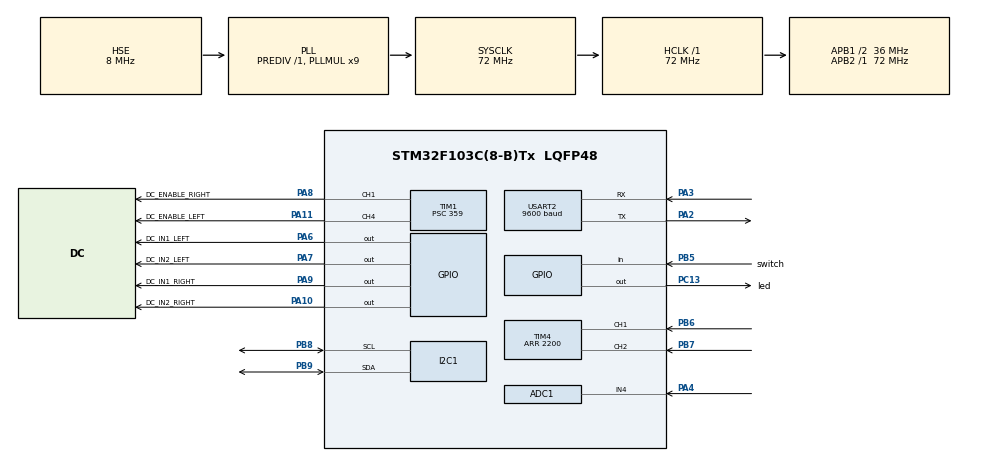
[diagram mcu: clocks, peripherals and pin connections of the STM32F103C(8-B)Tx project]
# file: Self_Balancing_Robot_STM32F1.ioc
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ADC1.Channel-98\#ChannelRegularConversion=ADC_CHANNEL_4
ADC1.ContinuousConvMode=ENABLE
ADC1.NbrOfConversionFlag=1
ADC1.Rank-98\#ChannelRegularConversion=1
ADC1.SamplingTime-98\#ChannelRegularConversion=ADC_SAMPLETIME_239CYCLES_5
ADC1.master=1
Dma.ADC1.0.Direction=DMA_PERIPH_TO_MEMORY
Dma.ADC1.0.Instance=DMA1_Channel1
Dma.ADC1.0.MemDataAlignment=DMA_MDATAALIGN_HALFWORD
Dma.ADC1.0.MemInc=DMA_MINC_ENABLE
Dma.ADC1.0.Mode=DMA_CIRCULAR
Dma.ADC1.0.PeriphDataAlignment=DMA_PDATAALIGN_HALFWORD
Dma.ADC1.0.PeriphInc=DMA_PINC_DISABLE
Dma.ADC1.0.Priority=DMA_PRIORITY_LOW
Dma.Request0=ADC1
I2C1.I2C_Mode=I2C_Fast
Mcu.Family=STM32F1
Mcu.Name=STM32F103C(8-B)Tx
Mcu.Package=LQFP48
NVIC.DMA1_Channel1_IRQn=true\:0\:0\:false\:false\:true
NVIC.I2C1_EV_IRQn=true\:0\:0\:false\:false\:true
NVIC.PriorityGroup=NVIC_PRIORITYGROUP_4
NVIC.USART2_IRQn=true\:0\:0\:false\:false\:true
PA10.GPIO_Label=DC_IN2_RIGHT
PA10.Signal=GPIO_Output
PA11.GPIO_Label=DC_ENABLE_LEFT
PA11.Signal=S_TIM1_CH4
PA13.Mode=Serial_Wire
PA13.Signal=SYS_JTMS-SWDIO
PA14.Mode=Serial_Wire
PA14.Signal=SYS_JTCK-SWCLK
PA2.Mode=Asynchronous
PA2.Signal=USART2_TX
PA3.Mode=Asynchronous
PA3.Signal=USART2_RX
PA4.Signal=ADCx_IN4
PA6.GPIO_Label=DC_IN1_LEFT
PA6.Signal=GPIO_Output
PA7.GPIO_Label=DC_IN2_LEFT
PA7.Signal=GPIO_Output
PA8.GPIO_Label=DC_ENABLE_RIGHT
PA8.Signal=S_TIM1_CH1
PA9.GPIO_Label=DC_IN1_RIGHT
PA9.Signal=GPIO_Output
PB5.GPIO_Label=switch
PB5.GPIO_PuPd=GPIO_PULLUP
PB5.Signal=GPIO_Input
PB6.Signal=S_TIM4_CH1
PB7.Signal=S_TIM4_CH2
PB8.Mode=I2C
PB8.Signal=I2C1_SCL
PB9.Mode=I2C
PB9.Signal=I2C1_SDA
PC13-TAMPER-RTC.GPIO_Label=led
PC13-TAMPER-RTC.PinState=GPIO_PIN_SET
PC13-TAMPER-RTC.Signal=GPIO_Output
PD0-OSC_IN.Mode=HSE-External-Oscillator
PD0-OSC_IN.Signal=RCC_OSC_IN
PD1-OSC_OUT.Mode=HSE-External-Oscillator
PD1-OSC_OUT.Signal=RCC_OSC_OUT
ProjectManager.HeapSize=0x200
ProjectManager.StackSize=0x400
ProjectManager.TargetToolchain=SW4STM32
RCC.ADCPresc=RCC_ADCPCLK2_DIV6
RCC.AHBFreq_Value=72000000
RCC.APB1CLKDivider=RCC_HCLK_DIV2
RCC.APB1Freq_Value=36000000
RCC.APB1TimFreq_Value=72000000
RCC.APB2Freq_Value=72000000
RCC.APB2TimFreq_Value=72000000
RCC.HCLKFreq_Value=72000000
RCC.PLLMUL=RCC_PLL_MUL9
RCC.PLLSourceVirtual=RCC_PLLSOURCE_HSE
RCC.SYSCLKFreq_VALUE=72000000
RCC.SYSCLKSource=RCC_SYSCLKSOURCE_PLLCLK
RCC.USBFreq_Value=72000000
SH.ADCx_IN4.0=ADC1_IN4,IN4
SH.S_TIM1_CH1.0=TIM1_CH1,PWM Generation1 CH1
SH.S_TIM1_CH4.0=TIM1_CH4,PWM Generation4 CH4
SH.S_TIM4_CH1.0=TIM4_CH1,Encoder_Interface
SH.S_TIM4_CH2.0=TIM4_CH2,Encoder_Interface
TIM1.Channel-PWM\ Generation1\ CH1=TIM_CHANNEL_1
TIM1.Channel-PWM\ Generation4\ CH4=TIM_CHANNEL_4
TIM1.Period=999
TIM1.Prescaler=359
TIM4.EncoderMode=TIM_ENCODERMODE_TI12
TIM4.IC1Filter=15
TIM4.IC2Filter=15
TIM4.Period=2200
USART2.BaudRate=9600
USART2.VirtualMode=VM_ASYNC
VP_TIM1_VS_ClockSourceINT.Mode=Internal
board=Self_Balancing_Robot_STM32F1

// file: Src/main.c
/**
 ******************************************************************************
 * File Name          : main.c
 * Description        : Main program body
 ******************************************************************************
 ** This notice applies to any and all portions of this file
 * that are not between comment pairs USER CODE BEGIN and
 * USER CODE END. Other portions of this file, whether
 * inserted by the user or by software development tools
 * are owned by their respective copyright owners.
 *
 * COPYRIGHT(c) 2017 STMicroelectronics
 *
 * Redistribution and use in source and binary forms, with or without modification,
 * are permitted provided that the following conditions are met:
 *   1. Redistributions of source code must retain the above copyright notice,
 *      this list of conditions and the following disclaimer.
 *   2. Redistributions in binary form must reproduce the above copyright notice,
 *      this list of conditions and the following disclaimer in the documentation
 *      and/or other materials provided with the distribution.
 *   3. Neither the name of STMicroelectronics nor the names of its contributors
 *      may be used to endorse or promote products derived from this software
 *      without specific prior written permission.
 *
 * THIS SOFTWARE IS PROVIDED BY THE COPYRIGHT HOLDERS AND CONTRIBUTORS "AS IS"
 * AND ANY EXPRESS OR IMPLIED WARRANTIES, INCLUDING, BUT NOT LIMITED TO, THE
 * IMPLIED WARRANTIES OF MERCHANTABILITY AND FITNESS FOR A PARTICULAR PURPOSE ARE
 * DISCLAIMED. IN NO EVENT SHALL THE COPYRIGHT HOLDER OR CONTRIBUTORS BE LIABLE
 * FOR ANY DIRECT, INDIRECT, INCIDENTAL, SPECIAL, EXEMPLARY, OR CONSEQUENTIAL
 * DAMAGES (INCLUDING, BUT NOT LIMITED TO, PROCUREMENT OF SUBSTITUTE GOODS OR
 * SERVICES; LOSS OF USE, DATA, OR PROFITS; OR BUSINESS INTERRUPTION) HOWEVER
 * CAUSED AND ON ANY THEORY OF LIABILITY, WHETHER IN CONTRACT, STRICT LIABILITY,
 * OR TORT (INCLUDING NEGLIGENCE OR OTHERWISE) ARISING IN ANY WAY OUT OF THE USE
 * OF THIS SOFTWARE, EVEN IF ADVISED OF THE POSSIBILITY OF SUCH DAMAGE.
 *
 ******************************************************************************
 */
#include "main.h"
#include "stm32f1xx_hal.h"

/* USER CODE BEGIN Includes */
#include <math.h>
/* USER CODE END Includes */

ADC_HandleTypeDef hadc1;
DMA_HandleTypeDef hdma_adc1;

I2C_HandleTypeDef hi2c1;

TIM_HandleTypeDef htim1;
TIM_HandleTypeDef htim4;

UART_HandleTypeDef huart2;

/* USER CODE BEGIN PV */
/* Private variables ---------------------------------------------------------*/
//DC motor macros
// Right motor
#define DC_IN1_RIGHT_ON HAL_GPIO_WritePin(DC_IN1_RIGHT_GPIO_Port, DC_IN1_RIGHT_Pin, 1)
#define DC_IN2_RIGHT_ON HAL_GPIO_WritePin(DC_IN2_RIGHT_GPIO_Port, DC_IN2_RIGHT_Pin, 1)
#define DC_IN1_RIGHT_OFF HAL_GPIO_WritePin(DC_IN1_RIGHT_GPIO_Port, DC_IN1_RIGHT_Pin, 0)
#define DC_IN2_RIGHT_OFF HAL_GPIO_WritePin(DC_IN2_RIGHT_GPIO_Port, DC_IN2_RIGHT_Pin, 0)
#define DC_ENABLE_RIGHT HAL_GPIO_WritePin(DC_ENABLE_RIGHT_GPIO_Port, DC_ENABLE_RIGHT_Pin, 1)
#define DC_DISABLE_RIGHT HAL_GPIO_WritePin(DC_ENABLE_RIGHT_GPIO_Port, DC_ENABLE_RIGHT_Pin, 0)
#define DC_DUTY_RIGHT TIM1->CCR1
// Left motor
#define DC_IN1_LEFT_ON HAL_GPIO_WritePin(DC_IN1_LEFT_GPIO_Port, DC_IN1_LEFT_Pin, 1)
#define DC_IN2_LEFT_ON HAL_GPIO_WritePin(DC_IN2_LEFT_GPIO_Port, DC_IN2_LEFT_Pin, 1)
#define DC_IN1_LEFT_OFF HAL_GPIO_WritePin(DC_IN1_LEFT_GPIO_Port, DC_IN1_LEFT_Pin, 0)
#define DC_IN2_LEFT_OFF HAL_GPIO_WritePin(DC_IN2_LEFT_GPIO_Port, DC_IN2_LEFT_Pin, 0)
#define DC_ENABLE_LEFT HAL_GPIO_WritePin(DC_ENABLE_LEFT_GPIO_Port, DC_ENABLE_LEFT_Pin, 1)
#define DC_DISABLE_LEFT HAL_GPIO_WritePin(DC_ENABLE_LEFT_GPIO_Port, DC_ENABLE_LEFT_Pin, 0)
#define DC_DUTY_LEFT TIM1->CCR4
// Both motors
#define DC_IN1_ON DC_IN1_RIGHT_ON; DC_IN1_LEFT_ON
#define DC_IN2_ON DC_IN2_RIGHT_ON; DC_IN2_LEFT_ON
#define DC_IN1_OFF DC_IN1_RIGHT_OFF; DC_IN1_LEFT_OFF
#define DC_IN2_OFF DC_IN2_RIGHT_OFF; DC_IN2_LEFT_OFF
#define DC_ENABLE DC_ENABLE_RIGHT; DC_ENABLE_LEFT
#define DC_DISABLE DC_DISABLE_RIGHT; DC_DISABLE_LEFT

uint8_t dc_shutdown;

// MPU6050 macros
#define MPU6050_ADDRESS 0xD0 // AD0 low; dont know why not 0x68 but 0xD0 works
#define MPU6050_PWR_MGMT_1 0x6B
#define MPU6050_GYRO_CONFIG 0x1B
#define MPU6050_ACCEL_CONFIG 0x1C
#define MPU6050_ACCEL_XOUT_H 0x3B
#define MPU6050_GYRO_XOUT_H 0x43
#define MPU6050_WHO_AM_I 0x75
#define MPU6050_I_AM 0x68
#define MPU6050_ACCEL_SENSITIVITY_SCALE ((float) 16384)
#define MPU6050_GYRO_SENSITIVITY_SCALE ((float) 131)

#define RAD_TO_DEG 180/M_PI
#define I2C_DEINIT {HAL_I2C_DeInit(&hi2c1); HAL_I2C_Init(&hi2c1);}

#define LED_ON HAL_GPIO_WritePin(led_GPIO_Port, led_Pin, 0)
#define LED_OFF HAL_GPIO_WritePin(led_GPIO_Port, led_Pin, 1)

uint8_t data[14];

float angle, set_point, error, drive, duty_stm_studio;

uint8_t data_uart[100], size = 0;

typedef struct {
	float dState; // Last position input

	float iState; // Integrator state
	float iMax, iMin; // Maximum and minimum allowable integrator state

	float pGain, // Proportional gain
			iGain, // Integrator gain
			dGain; // Derivative gain
} PID;
PID pid;

int32_t encoder;
volatile uint8_t cnt, key_lock;

uint16_t battery_adc;
float battery_voltage;

float pTerm, iTerm, dTerm;

uint8_t Received[10];
/* USER CODE END PV */

void SystemClock_Config(void);
static void MX_GPIO_Init(void);
static void MX_DMA_Init(void);
static void MX_TIM1_Init(void);
static void MX_I2C1_Init(void);
static void MX_USART2_UART_Init(void);
static void MX_TIM4_Init(void);
static void MX_ADC1_Init(void);

void HAL_TIM_MspPostInit(TIM_HandleTypeDef *htim);

/* USER CODE BEGIN PFP */
/* Private function prototypes -----------------------------------------------*/
uint8_t battery_low(uint16_t battery_adc);
void HAL_SYSTICK_Callback(void) { /* 100kHz interrupt */
	static uint32_t counter = 0, battery_counter = 0;
	counter++;
	battery_counter++;

	// Encoder start
	if (!key_lock && !HAL_GPIO_ReadPin(switch_GPIO_Port, switch_Pin)) {
		key_lock = 1;

//		switch (cnt) {
//		case 0:
//			set_point = 0.01 * (TIM4->CNT / 2);
//			break;
//		case 1:
//			set_point = -0.01 * (TIM4->CNT / 2);
//			break;
//		default:
//			break;
//		}
//		cnt++;
//		if (cnt > 1)
//			cnt = 0;

		pid.dGain = 20*(TIM4->CNT / 2);
	} else if (key_lock && HAL_GPIO_ReadPin(switch_GPIO_Port, switch_Pin))
		key_lock = 0;
	// Encoder end

//	if (counter == 1000) { /* every 0.5 sec */
//		counter = 0;
//		size = sprintf((char*) data_uart, "P_GAIN: %d\tI_GAIN: %d\tD_GAIN: %d\n\r", (int) (pid.pGain), (int) (pid.iGain), (int) (pid.dGain));
//		HAL_UART_Transmit_IT(&huart2, data_uart, size);
//	}
//	\tI: %d\tD: %d\tenc: %d\tcnt: %d

	// Battery voltage warning
//	if (battery_counter == 5000) { /* every 5 sec */
//		battery_counter = 0;
//		if (battery_low(battery_adc))
//			LED_ON;
//		else
//			LED_OFF;
//	}
}

void MPU6050_config(void);
float MPU6050_calibration(void);
float estimate_angle(void);
float update_PID(PID * pid, float error, float position);
void motor_plant(float drive, float position);

/* USER CODE END PFP */

int main(void) {

	/* USER CODE BEGIN 1 */
	pid.pGain = 300;
	pid.iGain = 0.05;
	pid.dGain = 0;

	pid.iMax = 1000;
	pid.iMin = -1000;

	/* USER CODE END 1 */

	/* MCU Configuration----------------------------------------------------------*/

	/* Reset of all peripherals, Initializes the Flash interface and the Systick. */
	HAL_Init();

	/* Configure the system clock */
	SystemClock_Config();

	/* Initialize all configured peripherals */
	MX_GPIO_Init();
	MX_DMA_Init();
	MX_TIM1_Init();
	MX_I2C1_Init();
	MX_USART2_UART_Init();
	MX_TIM4_Init();
	MX_ADC1_Init();

	/* USER CODE BEGIN 2 */
	HAL_TIM_PWM_Start(&htim1, TIM_CHANNEL_1);
	HAL_TIM_PWM_Start(&htim1, TIM_CHANNEL_4);
	HAL_TIM_Encoder_Start(&htim4, TIM_CHANNEL_ALL);

	MPU6050_config();
//	set_point = MPU6050_calibration();
	set_point = -10.00;
	HAL_ADC_Start_DMA(&hadc1, (uint32_t*) &battery_adc, 1);

	TIM4->CNT = 400;
	/* USER CODE END 2 */

	/* Infinite loop */
	/* USER CODE BEGIN WHILE */
	while (1) {
		angle = estimate_angle();
		error = set_point - angle;
		drive = update_PID(&pid, set_point - angle, angle);
		motor_plant(drive, angle);

		//***********************
		encoder = TIM4->CNT / 2;
		battery_voltage = battery_adc / 4095.0 * 12.0 + 2.0;
		//***********************

//		DC_IN1_LEFT_ON;
//		DC_IN2_LEFT_OFF;
//		DC_DUTY_LEFT = 400;
//
//		DC_IN1_RIGHT_OFF;
//		DC_IN2_RIGHT_ON;
//		DC_DUTY_RIGHT = 1000;
//
//		HAL_Delay(1500);
//
//		DC_IN1_LEFT_OFF;
//		DC_IN2_LEFT_ON;
//		DC_DUTY_LEFT = 1000;
//
//		DC_IN1_RIGHT_ON;
//		DC_IN2_RIGHT_OFF;
//		DC_DUTY_RIGHT = 400;
//
//		HAL_Delay(1500);
		/* USER CODE END WHILE */

	}

}

/** System Clock Configuration
 */
void SystemClock_Config(void) {

	RCC_OscInitTypeDef RCC_OscInitStruct;
	RCC_ClkInitTypeDef RCC_ClkInitStruct;
	RCC_PeriphCLKInitTypeDef PeriphClkInit;

	/**Initializes the CPU, AHB and APB busses clocks
	 */
	RCC_OscInitStruct.OscillatorType = RCC_OSCILLATORTYPE_HSE;
	RCC_OscInitStruct.HSEState = RCC_HSE_ON;
	RCC_OscInitStruct.HSEPredivValue = RCC_HSE_PREDIV_DIV1;
	RCC_OscInitStruct.HSIState = RCC_HSI_ON;
	RCC_OscInitStruct.PLL.PLLState = RCC_PLL_ON;
	RCC_OscInitStruct.PLL.PLLSource = RCC_PLLSOURCE_HSE;
	RCC_OscInitStruct.PLL.PLLMUL = RCC_PLL_MUL9;
	if (HAL_RCC_OscConfig(&RCC_OscInitStruct) != HAL_OK) {
		_Error_Handler(__FILE__, __LINE__);
	}

	/**Initializes the CPU, AHB and APB busses clocks
	 */
	RCC_ClkInitStruct.ClockType = RCC_CLOCKTYPE_HCLK | RCC_CLOCKTYPE_SYSCLK
			| RCC_CLOCKTYPE_PCLK1 | RCC_CLOCKTYPE_PCLK2;
	RCC_ClkInitStruct.SYSCLKSource = RCC_SYSCLKSOURCE_PLLCLK;
	RCC_ClkInitStruct.AHBCLKDivider = RCC_SYSCLK_DIV1;
	RCC_ClkInitStruct.APB1CLKDivider = RCC_HCLK_DIV2;
	RCC_ClkInitStruct.APB2CLKDivider = RCC_HCLK_DIV1;

	if (HAL_RCC_ClockConfig(&RCC_ClkInitStruct, FLASH_LATENCY_2) != HAL_OK) {
		_Error_Handler(__FILE__, __LINE__);
	}

	PeriphClkInit.PeriphClockSelection = RCC_PERIPHCLK_ADC;
	PeriphClkInit.AdcClockSelection = RCC_ADCPCLK2_DIV6;
	if (HAL_RCCEx_PeriphCLKConfig(&PeriphClkInit) != HAL_OK) {
		_Error_Handler(__FILE__, __LINE__);
	}

	/**Configure the Systick interrupt time
	 */
	HAL_SYSTICK_Config(HAL_RCC_GetHCLKFreq() / 1000);

	/**Configure the Systick
	 */
	HAL_SYSTICK_CLKSourceConfig(SYSTICK_CLKSOURCE_HCLK);

	/* SysTick_IRQn interrupt configuration */
	HAL_NVIC_SetPriority(SysTick_IRQn, 0, 0);
}

/* ADC1 init function */
static void MX_ADC1_Init(void) {

	ADC_ChannelConfTypeDef sConfig;

	/**Common config
	 */
	hadc1.Instance = ADC1;
	hadc1.Init.ScanConvMode = ADC_SCAN_DISABLE;
	hadc1.Init.ContinuousConvMode = ENABLE;
	hadc1.Init.DiscontinuousConvMode = DISABLE;
	hadc1.Init.ExternalTrigConv = ADC_SOFTWARE_START;
	hadc1.Init.DataAlign = ADC_DATAALIGN_RIGHT;
	hadc1.Init.NbrOfConversion = 1;
	if (HAL_ADC_Init(&hadc1) != HAL_OK) {
		_Error_Handler(__FILE__, __LINE__);
	}

	/**Configure Regular Channel
	 */
	sConfig.Channel = ADC_CHANNEL_4;
	sConfig.Rank = 1;
	sConfig.SamplingTime = ADC_SAMPLETIME_239CYCLES_5;
	if (HAL_ADC_ConfigChannel(&hadc1, &sConfig) != HAL_OK) {
		_Error_Handler(__FILE__, __LINE__);
	}

}

/* I2C1 init function */
static void MX_I2C1_Init(void) {

	hi2c1.Instance = I2C1;
	hi2c1.Init.ClockSpeed = 400000;
	hi2c1.Init.DutyCycle = I2C_DUTYCYCLE_2;
	hi2c1.Init.OwnAddress1 = 0;
	hi2c1.Init.AddressingMode = I2C_ADDRESSINGMODE_7BIT;
	hi2c1.Init.DualAddressMode = I2C_DUALADDRESS_DISABLE;
	hi2c1.Init.OwnAddress2 = 0;
	hi2c1.Init.GeneralCallMode = I2C_GENERALCALL_DISABLE;
	hi2c1.Init.NoStretchMode = I2C_NOSTRETCH_DISABLE;
	if (HAL_I2C_Init(&hi2c1) != HAL_OK) {
		_Error_Handler(__FILE__, __LINE__);
	}

}

/* TIM1 init function */
static void MX_TIM1_Init(void) {

	TIM_ClockConfigTypeDef sClockSourceConfig;
	TIM_MasterConfigTypeDef sMasterConfig;
	TIM_OC_InitTypeDef sConfigOC;
	TIM_BreakDeadTimeConfigTypeDef sBreakDeadTimeConfig;

	htim1.Instance = TIM1;
	htim1.Init.Prescaler = 359;
	htim1.Init.CounterMode = TIM_COUNTERMODE_UP;
	htim1.Init.Period = 999;
	htim1.Init.ClockDivision = TIM_CLOCKDIVISION_DIV1;
	htim1.Init.RepetitionCounter = 0;
	if (HAL_TIM_Base_Init(&htim1) != HAL_OK) {
		_Error_Handler(__FILE__, __LINE__);
	}

	sClockSourceConfig.ClockSource = TIM_CLOCKSOURCE_INTERNAL;
	if (HAL_TIM_ConfigClockSource(&htim1, &sClockSourceConfig) != HAL_OK) {
		_Error_Handler(__FILE__, __LINE__);
	}

	if (HAL_TIM_PWM_Init(&htim1) != HAL_OK) {
		_Error_Handler(__FILE__, __LINE__);
	}

	sMasterConfig.MasterOutputTrigger = TIM_TRGO_RESET;
	sMasterConfig.MasterSlaveMode = TIM_MASTERSLAVEMODE_DISABLE;
	if (HAL_TIMEx_MasterConfigSynchronization(&htim1, &sMasterConfig)
			!= HAL_OK) {
		_Error_Handler(__FILE__, __LINE__);
	}

	sConfigOC.OCMode = TIM_OCMODE_PWM1;
	sConfigOC.Pulse = 0;
	sConfigOC.OCPolarity = TIM_OCPOLARITY_HIGH;
	sConfigOC.OCNPolarity = TIM_OCNPOLARITY_HIGH;
	sConfigOC.OCFastMode = TIM_OCFAST_DISABLE;
	sConfigOC.OCIdleState = TIM_OCIDLESTATE_RESET;
	sConfigOC.OCNIdleState = TIM_OCNIDLESTATE_RESET;
	if (HAL_TIM_PWM_ConfigChannel(&htim1, &sConfigOC, TIM_CHANNEL_1)
			!= HAL_OK) {
		_Error_Handler(__FILE__, __LINE__);
	}

	if (HAL_TIM_PWM_ConfigChannel(&htim1, &sConfigOC, TIM_CHANNEL_4)
			!= HAL_OK) {
		_Error_Handler(__FILE__, __LINE__);
	}

	sBreakDeadTimeConfig.OffStateRunMode = TIM_OSSR_DISABLE;
	sBreakDeadTimeConfig.OffStateIDLEMode = TIM_OSSI_DISABLE;
	sBreakDeadTimeConfig.LockLevel = TIM_LOCKLEVEL_OFF;
	sBreakDeadTimeConfig.DeadTime = 0;
	sBreakDeadTimeConfig.BreakState = TIM_BREAK_DISABLE;
	sBreakDeadTimeConfig.BreakPolarity = TIM_BREAKPOLARITY_HIGH;
	sBreakDeadTimeConfig.AutomaticOutput = TIM_AUTOMATICOUTPUT_DISABLE;
	if (HAL_TIMEx_ConfigBreakDeadTime(&htim1, &sBreakDeadTimeConfig)
			!= HAL_OK) {
		_Error_Handler(__FILE__, __LINE__);
	}

	HAL_TIM_MspPostInit(&htim1);

}

/* TIM4 init function */
static void MX_TIM4_Init(void) {

	TIM_Encoder_InitTypeDef sConfig;
	TIM_MasterConfigTypeDef sMasterConfig;

	htim4.Instance = TIM4;
	htim4.Init.Prescaler = 0;
	htim4.Init.CounterMode = TIM_COUNTERMODE_UP;
	htim4.Init.Period = 2200;
	htim4.Init.ClockDivision = TIM_CLOCKDIVISION_DIV1;
	sConfig.EncoderMode = TIM_ENCODERMODE_TI12;
	sConfig.IC1Polarity = TIM_ICPOLARITY_RISING;
	sConfig.IC1Selection = TIM_ICSELECTION_DIRECTTI;
	sConfig.IC1Prescaler = TIM_ICPSC_DIV1;
	sConfig.IC1Filter = 15;
	sConfig.IC2Polarity = TIM_ICPOLARITY_RISING;
	sConfig.IC2Selection = TIM_ICSELECTION_DIRECTTI;
	sConfig.IC2Prescaler = TIM_ICPSC_DIV1;
	sConfig.IC2Filter = 15;
	if (HAL_TIM_Encoder_Init(&htim4, &sConfig) != HAL_OK) {
		_Error_Handler(__FILE__, __LINE__);
	}

	sMasterConfig.MasterOutputTrigger = TIM_TRGO_RESET;
	sMasterConfig.MasterSlaveMode = TIM_MASTERSLAVEMODE_DISABLE;
	if (HAL_TIMEx_MasterConfigSynchronization(&htim4, &sMasterConfig)
			!= HAL_OK) {
		_Error_Handler(__FILE__, __LINE__);
	}

}

/* USART2 init function */
static void MX_USART2_UART_Init(void) {

	huart2.Instance = USART2;
	huart2.Init.BaudRate = 9600;
	huart2.Init.WordLength = UART_WORDLENGTH_8B;
	huart2.Init.StopBits = UART_STOPBITS_1;
	huart2.Init.Parity = UART_PARITY_NONE;
	huart2.Init.Mode = UART_MODE_TX_RX;
	huart2.Init.HwFlowCtl = UART_HWCONTROL_NONE;
	huart2.Init.OverSampling = UART_OVERSAMPLING_16;
	if (HAL_UART_Init(&huart2) != HAL_OK) {
		_Error_Handler(__FILE__, __LINE__);
	}

}

static void MX_DMA_Init(void) {
	/* DMA controller clock enable */
	__HAL_RCC_DMA1_CLK_ENABLE()
	;

	/* DMA interrupt init */
	/* DMA1_Channel1_IRQn interrupt configuration */
	HAL_NVIC_SetPriority(DMA1_Channel1_IRQn, 0, 0);
	HAL_NVIC_EnableIRQ(DMA1_Channel1_IRQn);

}

/** Configure pins as
 * Analog
 * Input
 * Output
 * EVENT_OUT
 * EXTI
 */
static void MX_GPIO_Init(void) {

	GPIO_InitTypeDef GPIO_InitStruct;

	/* GPIO Ports Clock Enable */
	__HAL_RCC_GPIOC_CLK_ENABLE()
	;
	__HAL_RCC_GPIOD_CLK_ENABLE()
	;
	__HAL_RCC_GPIOA_CLK_ENABLE()
	;
	__HAL_RCC_GPIOB_CLK_ENABLE()
	;

	/*Configure GPIO pin Output Level */
	HAL_GPIO_WritePin(led_GPIO_Port, led_Pin, GPIO_PIN_SET);

	/*Configure GPIO pin Output Level */
	HAL_GPIO_WritePin(GPIOA,
			DC_IN1_LEFT_Pin | DC_IN2_LEFT_Pin | DC_IN1_RIGHT_Pin
					| DC_IN2_RIGHT_Pin, GPIO_PIN_RESET);

	/*Configure GPIO pin : led_Pin */
	GPIO_InitStruct.Pin = led_Pin;
	GPIO_InitStruct.Mode = GPIO_MODE_OUTPUT_PP;
	GPIO_InitStruct.Speed = GPIO_SPEED_FREQ_LOW;
	HAL_GPIO_Init(led_GPIO_Port, &GPIO_InitStruct);

	/*Configure GPIO pins : DC_IN1_LEFT_Pin DC_IN2_LEFT_Pin DC_IN1_RIGHT_Pin DC_IN2_RIGHT_Pin */
	GPIO_InitStruct.Pin = DC_IN1_LEFT_Pin | DC_IN2_LEFT_Pin | DC_IN1_RIGHT_Pin
			| DC_IN2_RIGHT_Pin;
	GPIO_InitStruct.Mode = GPIO_MODE_OUTPUT_PP;
	GPIO_InitStruct.Speed = GPIO_SPEED_FREQ_LOW;
	HAL_GPIO_Init(GPIOA, &GPIO_InitStruct);

	/*Configure GPIO pin : switch_Pin */
	GPIO_InitStruct.Pin = switch_Pin;
	GPIO_InitStruct.Mode = GPIO_MODE_INPUT;
	GPIO_InitStruct.Pull = GPIO_PULLUP;
	HAL_GPIO_Init(switch_GPIO_Port, &GPIO_InitStruct);

}

/* USER CODE BEGIN 4 */
void MPU6050_config(void) {
	LED_ON;
	uint8_t settings = 0;
	uint8_t temp = 0;

	while (HAL_I2C_IsDeviceReady(&hi2c1, MPU6050_ADDRESS, 100, 10) != HAL_OK)
		; // I2C_DEINIT
	while (temp != MPU6050_I_AM) {
		HAL_I2C_Mem_Read_IT(&hi2c1, MPU6050_ADDRESS, MPU6050_WHO_AM_I, 1, &temp,
				1);
	}
	// Power config
	settings = 0x00;
	while (HAL_I2C_Mem_Write_IT(&hi2c1, MPU6050_ADDRESS, MPU6050_PWR_MGMT_1, 1,
			&settings, 1) != HAL_OK)
		;

	// Gyro config
	settings = 0x00;
//	while (HAL_I2C_Mem_Read_IT(&hi2c1, MPU6050_ADDRESS, MPU6050_GYRO_CONFIG, 1, &temp, 1)!=HAL_OK);
//	settings = (temp & 0xE7) | settings;
	while (HAL_I2C_Mem_Write_IT(&hi2c1, MPU6050_ADDRESS, MPU6050_GYRO_CONFIG, 1,
			&settings, 1) != HAL_OK)
		;

	// Accel config
	settings = 0x00;
//	while (HAL_I2C_Mem_Read_IT(&hi2c1, MPU6050_ADDRESS, MPU6050_ACCEL_CONFIG, 1, &temp, 1)!=HAL_OK);
//	settings = (temp & 0xE7) | settings;
	while (HAL_I2C_Mem_Write_IT(&hi2c1, MPU6050_ADDRESS, MPU6050_ACCEL_CONFIG,
			1, &settings, 1) != HAL_OK)
		;

	LED_OFF;
}

float MPU6050_calibration(void) {
	HAL_Delay(2000);
//	uint8_t temp=0;
//	while (temp != MPU6050_I_AM) {
//		HAL_I2C_Mem_Read_IT(&hi2c1, MPU6050_ADDRESS, MPU6050_WHO_AM_I, 1, &temp, 1);
//	}
	float angle_bias = 0;
	for (uint16_t i = 0; i < 1000; i++) {
		angle_bias += estimate_angle();
		HAL_Delay(1);
	}
	angle_bias /= 1000.0;
	return angle_bias;
}

float estimate_angle(void) {
	uint32_t currTimeStamp, elapsedTime;
	static uint32_t prevTimeStamp;
	float current_angle;
	static float prev_angle = 0;

	currTimeStamp = HAL_GetTick();
	elapsedTime = currTimeStamp - prevTimeStamp;
	prevTimeStamp = currTimeStamp;

	HAL_I2C_Mem_Read_IT(&hi2c1, MPU6050_ADDRESS, MPU6050_ACCEL_XOUT_H, 1, data,
			14);

	// Accel
	int16_t accel_raw_x = ((data[0] << 8) | data[2]);
//	int16_t accel_raw_y = ((data[2] << 8) | data[3]);
	int16_t accel_raw_z = ((data[4] << 8) | data[5]);

	float accel_x = (float) accel_raw_x / MPU6050_ACCEL_SENSITIVITY_SCALE;
//	float accel_y = (float) accel_raw_y / MPU6050_ACCEL_SENSITIVITY_SCALE;
	float accel_z = (float) accel_raw_z / MPU6050_ACCEL_SENSITIVITY_SCALE;

	float angle_accel = atan2f(accel_x, accel_z) * RAD_TO_DEG; //only accel

	// Gyro
//	int16_t gyro_raw_x = ((data[8] << 8) | data[9]);
	int16_t gyro_raw_y = ((data[10] << 8) | data[11]);

	float gyro_y = (float) gyro_raw_y / MPU6050_GYRO_SENSITIVITY_SCALE;

	// Complementary filter
	current_angle = 0.997
			* (prev_angle + (gyro_y * (float) elapsedTime / 1000.0))
			+ 0.003 * angle_accel;
	prev_angle = current_angle;

	return current_angle;
}

float update_PID(PID * pid, float error, float position) {
//	float pTerm, iTerm, dTerm;
	// P
	pTerm = pid->pGain * error;

	// I
	pid->iState += error;
	if (pid->iState > pid->iMax)
		pid->iState = pid->iMax;
	else if (pid->iState < pid->iMin)
		pid->iState = pid->iMin;
	iTerm = pid->iGain * pid->iState;

	// D
	dTerm = pid->dGain * (pid->dState - position);
	pid->dState = position;

	return pTerm + iTerm + dTerm;
}

void motor_plant(float drive, float position) {
	if (position > 25 || position < -25 || position == 0) {
		DC_DISABLE
		;
		DC_DUTY_RIGHT = 0;
		DC_DUTY_LEFT = 0;
	} else if (drive > 0) {
		if (drive > 1000)
			drive = 1000;
		DC_ENABLE
		;
		DC_DUTY_RIGHT = drive;
		DC_DUTY_LEFT = drive;
		//*****
		duty_stm_studio = drive;
		//*****
		DC_IN2_OFF
		;
		DC_IN1_ON
		;
	} else if (drive < 0) {
		if (drive < -1000)
			drive = -1000;
		DC_ENABLE
		;
		DC_DUTY_RIGHT = -drive;
		DC_DUTY_LEFT = -drive;
		//*****
		duty_stm_studio = drive;
		//*****
		DC_IN1_OFF
		;
		DC_IN2_ON
		;
	} else {
		DC_DISABLE
		;
	}
}

uint8_t battery_low(uint16_t battery_adc) {
	float battery_voltage = (float) battery_adc / 4095.0 * 12.0 + 2.0; // dont care about resistors
	if (battery_voltage < 10)
		return 1;
	return 0;
}
/* USER CODE END 4 */

void _Error_Handler(char * file, int line) {
	while (1) {
	}
}

/************************ (C) COPYRIGHT STMicroelectronics *****END OF FILE****/
